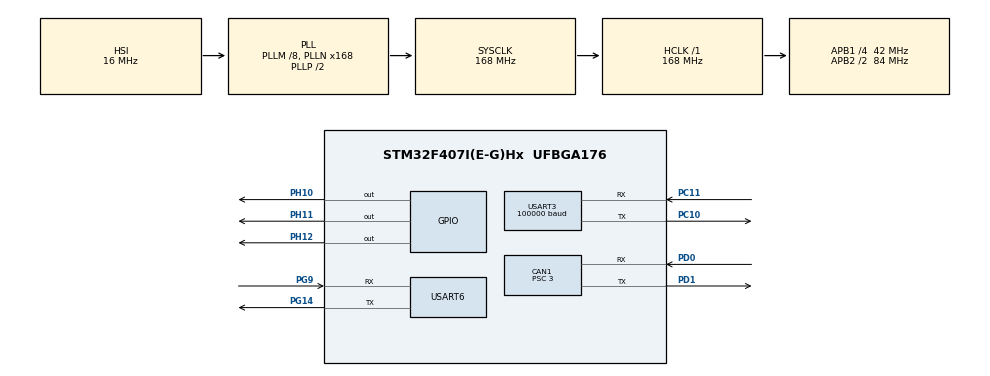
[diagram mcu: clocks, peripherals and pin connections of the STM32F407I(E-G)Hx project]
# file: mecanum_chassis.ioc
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CAN1.BS1=CAN_BS1_10TQ
CAN1.BS2=CAN_BS2_3TQ
CAN1.CalculateBaudRate=1000000
CAN1.CalculateTimeBit=1000
CAN1.CalculateTimeQuantum=71.42857142857143
,ABOM
CAN1.Prescaler=3
CAN1.ABOM=ENABLE
Dma.Request0=USART3_RX
Dma.USART3_RX.0.Direction=DMA_PERIPH_TO_MEMORY
Dma.USART3_RX.0.FIFOMode=DMA_FIFOMODE_DISABLE
Dma.USART3_RX.0.Instance=DMA1_Stream1
Dma.USART3_RX.0.MemDataAlignment=DMA_MDATAALIGN_BYTE
Dma.USART3_RX.0.MemInc=DMA_MINC_ENABLE
Dma.USART3_RX.0.Mode=DMA_CIRCULAR
Dma.USART3_RX.0.PeriphDataAlignment=DMA_PDATAALIGN_BYTE
Dma.USART3_RX.0.PeriphInc=DMA_PINC_DISABLE
Dma.USART3_RX.0.Priority=DMA_PRIORITY_LOW
Mcu.Family=STM32F4
Mcu.Name=STM32F407I(E-G)Hx
Mcu.Package=UFBGA176
NVIC.CAN1_RX0_IRQn=true\:0\:0\:false\:false\:true\:true\:true\:true
NVIC.DMA1_Stream1_IRQn=true\:0\:0\:false\:false\:true\:false\:true\:true
NVIC.PriorityGroup=NVIC_PRIORITYGROUP_4
NVIC.USART3_IRQn=true\:0\:0\:false\:false\:true\:true\:true\:true
NVIC.USART6_IRQn=true\:0\:0\:false\:false\:true\:true\:true\:true
PA13.Mode=Serial_Wire
PA13.Signal=SYS_JTMS-SWDIO
PA14.Mode=Serial_Wire
PA14.Signal=SYS_JTCK-SWCLK
PC10.Mode=Asynchronous
PC10.Signal=USART3_TX
PC11.Mode=Asynchronous
PC11.Signal=USART3_RX
PD0.Mode=CAN_Activate
PD0.Signal=CAN1_RX
PD1.Mode=CAN_Activate
PD1.Signal=CAN1_TX
PG14.Mode=Asynchronous
PG14.Signal=USART6_TX
PG9.Mode=Asynchronous
PG9.Signal=USART6_RX
PH0-OSC_IN.Mode=HSE-External-Oscillator
PH0-OSC_IN.Signal=RCC_OSC_IN
PH1-OSC_OUT.Mode=HSE-External-Oscillator
PH1-OSC_OUT.Signal=RCC_OSC_OUT
PH10.GPIO_ModeDefaultOutputPP=GPIO_MODE_OUTPUT_PP
PH10.GPIO_PuPd=GPIO_NOPULL
PH10.GPIO_Speed=GPIO_SPEED_FREQ_LOW
PH10.PinState=GPIO_PIN_RESET
PH10.Signal=GPIO_Output
PH11.GPIO_ModeDefaultOutputPP=GPIO_MODE_OUTPUT_PP
PH11.GPIO_PuPd=GPIO_NOPULL
PH11.GPIO_Speed=GPIO_SPEED_FREQ_LOW
PH11.PinState=GPIO_PIN_RESET
PH11.Signal=GPIO_Output
PH12.GPIO_ModeDefaultOutputPP=GPIO_MODE_OUTPUT_PP
PH12.GPIO_PuPd=GPIO_NOPULL
PH12.GPIO_Speed=GPIO_SPEED_FREQ_LOW
PH12.PinState=GPIO_PIN_RESET
PH12.Signal=GPIO_Output
ProjectManager.HeapSize=0x200
ProjectManager.StackSize=0x400
ProjectManager.TargetToolchain=CMake
RCC.48MHZClocksFreq_Value=84000000
RCC.AHBFreq_Value=168000000
RCC.APB1CLKDivider=RCC_HCLK_DIV4
RCC.APB1Freq_Value=42000000
RCC.APB1TimFreq_Value=84000000
RCC.APB2CLKDivider=RCC_HCLK_DIV2
RCC.APB2Freq_Value=84000000
RCC.APB2TimFreq_Value=168000000
RCC.CortexFreq_Value=168000000
RCC.HCLKFreq_Value=168000000
RCC.HSE_VALUE=25000000
RCC.HSI_VALUE=16000000
RCC.LSE_VALUE=32768
RCC.PLLM=8
RCC.PLLN=168
RCC.SYSCLKFreq_VALUE=168000000
RCC.SYSCLKSource=RCC_SYSCLKSOURCE_PLLCLK
RCC.VCOOutputFreq_Value=336000000
USART3.BaudRate=100000
USART3.Parity=PARITY_EVEN
USART3.VirtualMode=VM_ASYNC
USART3.WordLength=WORDLENGTH_9B
USART6.VirtualMode=VM_ASYNC
board=custom

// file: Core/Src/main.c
/* USER CODE BEGIN Header */
/**
  ******************************************************************************
  * @file           : main.c
  * @brief          : Main program body
  ******************************************************************************
  * @attention
  *
  * Copyright (c) 2026 STMicroelectronics.
  * All rights reserved.
  *
  * This software is licensed under terms that can be found in the LICENSE file
  * in the root directory of this software component.
  * If no LICENSE file comes with this software, it is provided AS-IS.
  *
  ******************************************************************************
  */
/* USER CODE END Header */
#include "main.h"
#include "can.h"
#include "dma.h"
#include "usart.h"
#include "gpio.h"

/* USER CODE BEGIN Includes */
#include "Bsp_can.h"
#include "Bsp_dbus.h"
#include "Bsp_led.h"
#include "ChassisControl.h"
#include "Motor.h"
#include "RcMonitor.h"
/* USER CODE END Includes */

void SystemClock_Config(void);

int main(void)
{

  /* MCU Configuration--------------------------------------------------------*/

  /* Reset of all peripherals, Initializes the Flash interface and the Systick. */
  HAL_Init();

  /* Configure the system clock */
  SystemClock_Config();

  /* Initialize all configured peripherals */
  MX_GPIO_Init();
  MX_DMA_Init();
  MX_CAN1_Init();
  MX_USART3_UART_Init();
  MX_USART6_UART_Init();
  /* USER CODE BEGIN 2 */
  LED_Init();

  /* USART3 循环 DMA + IDLE 接收，失败则进入统一错误处理 */
  if (DBUS_Init(&huart3) != HAL_OK)
  {
    Error_Handler();
  }

  /* 四台 C620：建立 0x200 控制帧与 ID 1~4 的映射 */
  DJI3508_MotorGroupInit();

  /* CAN1 过滤器、启动、RX0 接收通知 */
  if (BSP_CAN_Init(&hcan1) != HAL_OK)
  {
    Error_Handler();
  }

  /* 底盘状态机、四轮速度环 PID 参数 */
  ChassisControl_Init();

  uint32_t last_control_tick = HAL_GetTick();
  /* USER CODE END 2 */

  /* Infinite loop */
  while (1)
  {

    /* USER CODE BEGIN 3 */
    uint32_t now_ms = HAL_GetTick();

    /* 按 1ms 节拍执行，避免同一毫秒内重复运行 */
    if (now_ms != last_control_tick)
    {
      last_control_tick = now_ms;

      /* 1kHz：状态机 -> RC 映射 -> 逆解 -> 四轮速度环 -> 0x200 */
      ChassisControl_Step();

      /* USART6 -> VOFA+，中断发送，内部 20ms 限频 */
      RcMonitor_Task();
    }
  }
  /* USER CODE END 3 */
}

void SystemClock_Config(void)
{
  RCC_OscInitTypeDef RCC_OscInitStruct = {0};
  RCC_ClkInitTypeDef RCC_ClkInitStruct = {0};

  /** Configure the main internal regulator output voltage
  */
  __HAL_RCC_PWR_CLK_ENABLE();
  __HAL_PWR_VOLTAGESCALING_CONFIG(PWR_REGULATOR_VOLTAGE_SCALE1);

  /** Initializes the RCC Oscillators according to the specified parameters
  * in the RCC_OscInitTypeDef structure.
  */
  RCC_OscInitStruct.OscillatorType = RCC_OSCILLATORTYPE_HSI;
  RCC_OscInitStruct.HSIState = RCC_HSI_ON;
  RCC_OscInitStruct.HSICalibrationValue = RCC_HSICALIBRATION_DEFAULT;
  RCC_OscInitStruct.PLL.PLLState = RCC_PLL_ON;
  RCC_OscInitStruct.PLL.PLLSource = RCC_PLLSOURCE_HSI;
  RCC_OscInitStruct.PLL.PLLM = 8;
  RCC_OscInitStruct.PLL.PLLN = 168;
  RCC_OscInitStruct.PLL.PLLP = RCC_PLLP_DIV2;
  RCC_OscInitStruct.PLL.PLLQ = 4;
  if (HAL_RCC_OscConfig(&RCC_OscInitStruct) != HAL_OK)
  {
    Error_Handler();
  }

  /** Initializes the CPU, AHB and APB buses clocks
  */
  RCC_ClkInitStruct.ClockType = RCC_CLOCKTYPE_HCLK|RCC_CLOCKTYPE_SYSCLK
                              |RCC_CLOCKTYPE_PCLK1|RCC_CLOCKTYPE_PCLK2;
  RCC_ClkInitStruct.SYSCLKSource = RCC_SYSCLKSOURCE_PLLCLK;
  RCC_ClkInitStruct.AHBCLKDivider = RCC_SYSCLK_DIV1;
  RCC_ClkInitStruct.APB1CLKDivider = RCC_HCLK_DIV4;
  RCC_ClkInitStruct.APB2CLKDivider = RCC_HCLK_DIV2;

  if (HAL_RCC_ClockConfig(&RCC_ClkInitStruct, FLASH_LATENCY_5) != HAL_OK)
  {
    Error_Handler();
  }
}

void Error_Handler(void)
{
  __disable_irq();
  while (1)
  {
  }
}
